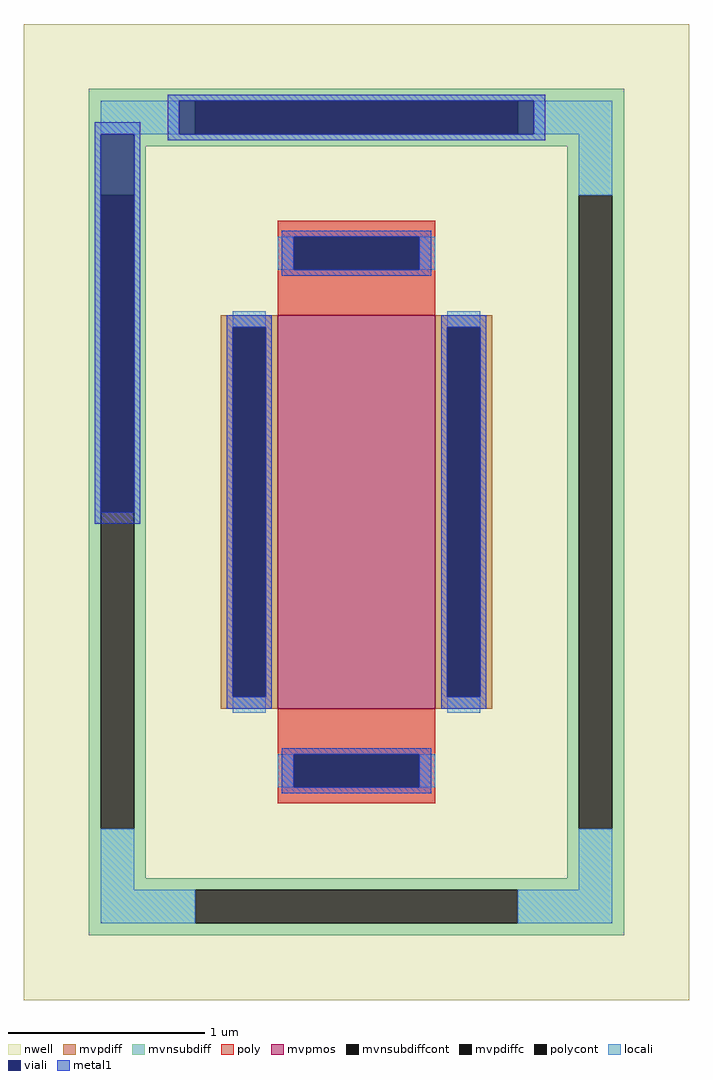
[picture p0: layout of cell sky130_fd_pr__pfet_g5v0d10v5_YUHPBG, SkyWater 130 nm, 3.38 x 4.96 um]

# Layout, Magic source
magic
tech sky130A
<< nwell >>
rect -169 -248 169 248
<< mvpmos >>
rect -40 -100 40 100
<< mvpdiff >>
rect -69 94 -40 100
rect -69 -94 -63 94
rect -46 -94 -40 94
rect -69 -100 -40 -94
rect 40 94 69 100
rect 40 -94 46 94
rect 63 -94 69 94
rect 40 -100 69 -94
<< mvpdiffc >>
rect -63 -94 -46 94
rect 46 -94 63 94
<< mvnsubdiff >>
rect -136 209 136 215
rect -136 192 -82 209
rect 82 192 136 209
rect -136 186 136 192
rect -136 161 -107 186
rect -136 -161 -130 161
rect -113 -161 -107 161
rect 107 161 136 186
rect -136 -186 -107 -161
rect 107 -161 113 161
rect 130 -161 136 161
rect 107 -186 136 -161
rect -136 -192 136 -186
rect -136 -209 -82 -192
rect 82 -209 136 -192
rect -136 -215 136 -209
<< mvnsubdiffcont >>
rect -82 192 82 209
rect -130 -161 -113 161
rect 113 -161 130 161
rect -82 -209 82 -192
<< poly >>
rect -40 140 40 148
rect -40 123 -32 140
rect 32 123 40 140
rect -40 100 40 123
rect -40 -123 40 -100
rect -40 -140 -32 -123
rect 32 -140 40 -123
rect -40 -148 40 -140
<< polycont >>
rect -32 123 32 140
rect -32 -140 32 -123
<< locali >>
rect -130 192 -90 209
rect 90 192 130 209
rect 113 161 130 192
rect -40 123 -32 140
rect 32 123 40 140
rect -63 94 -46 102
rect -63 -102 -46 -94
rect 46 94 63 102
rect 46 -102 63 -94
rect -40 -140 -32 -123
rect 32 -140 40 -123
rect -130 -192 -113 -161
rect 113 -192 130 -161
rect -130 -209 -82 -192
rect 82 -209 130 -192
<< viali >>
rect -90 192 -82 209
rect -82 192 82 209
rect 82 192 90 209
rect -130 161 -113 192
rect -130 0 -113 161
rect -32 123 32 140
rect -63 -94 -46 94
rect 46 -94 63 94
rect -32 -140 32 -123
<< metal1 >>
rect -96 209 96 212
rect -133 192 -110 198
rect -133 0 -130 192
rect -113 0 -110 192
rect -96 192 -90 209
rect 90 192 96 209
rect -96 189 96 192
rect -38 140 38 143
rect -38 123 -32 140
rect 32 123 38 140
rect -38 120 38 123
rect -133 -6 -110 0
rect -66 94 -43 100
rect -66 -94 -63 94
rect -46 -94 -43 94
rect -66 -100 -43 -94
rect 43 94 66 100
rect 43 -94 46 94
rect 63 -94 66 94
rect 43 -100 66 -94
rect -38 -123 38 -120
rect -38 -140 -32 -123
rect 32 -140 38 -123
rect -38 -143 38 -140
<< properties >>
string FIXED_BBOX -121 -201 121 201
string gencell sky130_fd_pr__pfet_g5v0d10v5
string library sky130
string parameters w 2.00 l 0.80 m 1 nf 1 diffcov 100 polycov 100 guard 1 glc 1 grc 1 gtc 1 gbc 1 tbcov 100 rlcov 100 topc 1 botc 1 poverlap 0 doverlap 1 lmin 0.50 wmin 0.42 compatible {sky130_fd_pr__pfet_01v8  sky130_fd_pr__pfet_01v8_lvt sky130_fd_pr__pfet_01v8_hvt  sky130_fd_pr__pfet_g5v0d10v5} full_metal 1 viagl -50 viagr 0 viagt 80 viagb 0 viagate 100 viadrn 100 viasrc 100
<< end >>
